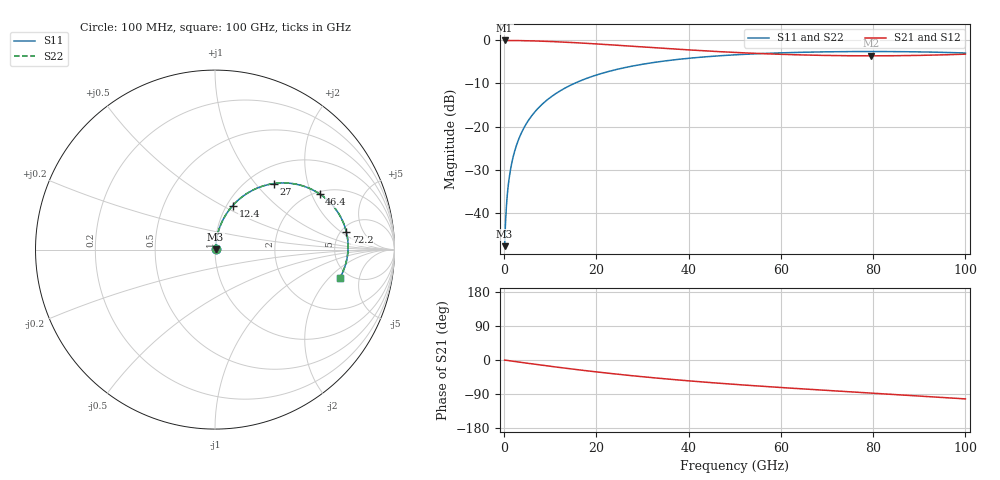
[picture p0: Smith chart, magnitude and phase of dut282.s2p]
! Touchstone file exported from HFSS 2026.1.0
!  File:  C:/ffzhzh/LocalFiles/Ansys_Project_Files/temp_train_RDL_282_1783502057_9504.aedt
!  Generated:  05:15:31 PM Jul  8, 2026
!  Design:  RDL
!  Project:  temp_train_RDL_282_1783502057_9504
! Variables:
!  h_bsmrdl = 2um
!  h_ox = 20um
!  h_rdl = 5um
!  h_sub = 80um
!  h_tmrdl = 3.15um
!  h_tsv = 80um
!  h_via = 3um
!  l_bsmrdl = 300um
!  l_sub = 743.9um
!  l_tmrdl = 343.9um
!  m_sub = 200um
!  pitch = 56.92um
!  r_tsv = 6um
!  s_tmrdl = 10um
!  w_bsmrdl = 18um
!  w_sub = 500um
!  w_tmrdl = 11.81um
!  x_tsv_center1 = 349.805um
!  x_tsv_center2 = 667.805um
!  x_tsv_center3 = 1023.515um
!  x_tsv_center4 = 1341.515um
!  x_tsv_center5 = 1697.225um
!  x_tsv_center6 = 2015.225um
# GHz S MA R 50.000000
! Terminal data exported
! Port[1] = TM_RDL1_1_T1
! Port[2] = TM_RDL1_1_T2
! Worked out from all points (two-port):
!   1000 points, 100 MHz to 100 GHz, reference 50 ohm
!   highest |S21| = -0.03 dB at 100 MHz (marker M1); lowest = -3.6 dB at 79.5 GHz (marker M2)
!   |S21| within 3 dB of the highest: start of sweep to 54.68 GHz
!   lowest |S11| = -47.7 dB at 100 MHz (marker M3), VSWR 1.01, Z = 50.3 + j0.236 ohm
!   |S11| at or under -10 dB: start of sweep to 15.2 GHz
!   |S22| runs from -47.7 to -2.6 dB; largest |S21 - S12| = 1.2e-14
!   S11 on the Smith chart (normalised r, x): 100 MHz: 1.01, +0.00; 12.4 GHz: 1.07, +0.56; 27 GHz: 1.29, +1.26; 46.4 GHz: 2.09, +2.30; 72.2 GHz: 5.60, +2.39; 100 GHz: 4.15, -2.69
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0.1  0.004116 34.7  0.9966 -0.2  0.9966 -0.2  0.004116 34.7
! Gamma 0 0 0 0
! Port Impedance 50 0 50 0
0.4  0.009974 68.7  0.9964 -0.7  0.9964 -0.7  0.009974 68.7
0.8  0.01882 77.2  0.9961 -1.4  0.9961 -1.4  0.01882 77.2
1  0.02328 78.9  0.9959 -1.7  0.9959 -1.7  0.02328 78.9
1.3  0.02999 80.3  0.9957 -2.2  0.9957 -2.2  0.02999 80.3
2.1  0.04792 81.5  0.9948 -3.6  0.9948 -3.6  0.04792 81.5
3.2  0.07252 81.1  0.993 -5.4  0.993 -5.4  0.07252 81.1
4.8  0.1079 79.3  0.9893 -8.1  0.9893 -8.1  0.1079 79.3
6.8  0.1512 76.5  0.9829 -11.4  0.9829 -11.4  0.1512 76.5
9.3  0.2034 72.7  0.9726 -15.4  0.9726 -15.4  0.2034 72.7
12.4  0.2646 68.0  0.9567 -20.3  0.9567 -20.3  0.2646 68.1
16.8  0.3441 61.6  0.9301 -26.9  0.9301 -26.9  0.3441 61.7
21.5  0.419 55.2  0.8983 -33.5  0.8983 -33.5  0.419 55.2
27  0.4933 48.2  0.8596 -40.6  0.8596 -40.6  0.4933 48.3
33.4  0.5632 40.9  0.8158 -48.1  0.8158 -48.1  0.5632 40.9
46.4  0.6604 28.0  0.7407 -61.1  0.7407 -61.1  0.6604 28.1
50.1  0.6794 24.7  0.7237 -64.4  0.7237 -64.4  0.6794 24.8
66.7  0.7311 11.6  0.6729 -77.8  0.6729 -77.8  0.7311 11.7
72.2  0.7385 7.6  0.6651 -81.8  0.6651 -81.8  0.7385 7.7
79.5  0.742 2.3  0.6613 -87.2  0.6613 -87.2  0.742 2.4
83.4  0.741 -0.5  0.6624 -90.0  0.6624 -90.0  0.741 -0.4
100  0.7129 -12.9  0.6913 -102.7  0.6913 -102.7  0.7129 -12.7
